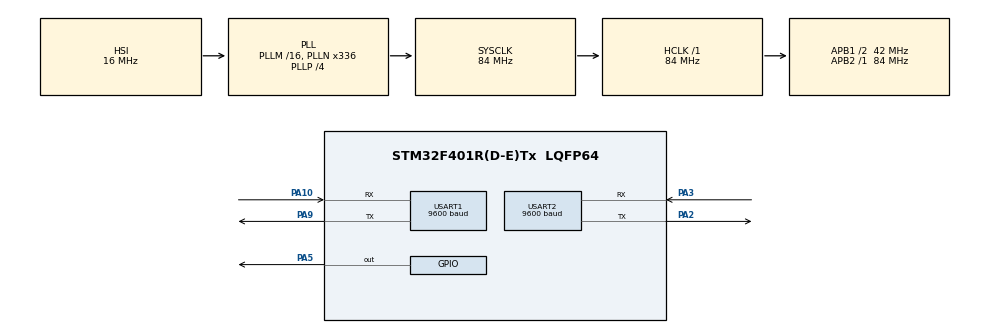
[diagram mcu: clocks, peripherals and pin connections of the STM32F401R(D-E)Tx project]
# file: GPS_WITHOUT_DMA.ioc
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Mcu.Family=STM32F4
Mcu.Name=STM32F401R(D-E)Tx
Mcu.Package=LQFP64
Mcu.UserConstants=RxFlag,int
NVIC.PriorityGroup=NVIC_PRIORITYGROUP_0
NVIC.USART1_IRQn=true\:0\:0\:false\:false\:true\:true\:true
NVIC.USART2_IRQn=true\:0\:0\:false\:false\:true\:true\:true
PA10.Mode=Asynchronous
PA10.Signal=USART1_RX
PA2.Mode=Asynchronous
PA2.Signal=USART2_TX
PA3.Mode=Asynchronous
PA3.Signal=USART2_RX
PA5.Signal=GPIO_Output
PA9.Mode=Asynchronous
PA9.Signal=USART1_TX
PC14-OSC32_IN.Mode=LSE-External-Oscillator
PC14-OSC32_IN.Signal=RCC_OSC32_IN
PC15-OSC32_OUT.Mode=LSE-External-Oscillator
PC15-OSC32_OUT.Signal=RCC_OSC32_OUT
PH0\ -\ OSC_IN.Mode=HSE-External-Oscillator
PH0\ -\ OSC_IN.Signal=RCC_OSC_IN
PH1\ -\ OSC_OUT.Mode=HSE-External-Oscillator
PH1\ -\ OSC_OUT.Signal=RCC_OSC_OUT
ProjectManager.HeapSize=0x200
ProjectManager.StackSize=0x400
ProjectManager.TargetToolchain=MDK-ARM V5.32
RCC.AHBFreq_Value=84000000
RCC.APB1CLKDivider=RCC_HCLK_DIV2
RCC.APB1Freq_Value=42000000
RCC.APB1TimFreq_Value=84000000
RCC.APB2Freq_Value=84000000
RCC.APB2TimFreq_Value=84000000
RCC.CortexFreq_Value=84000000
RCC.HCLKFreq_Value=84000000
RCC.HSE_VALUE=8000000
RCC.HSI_VALUE=16000000
RCC.PLLN=336
RCC.PLLP=RCC_PLLP_DIV4
RCC.PLLQ=7
RCC.SYSCLKFreq_VALUE=84000000
RCC.SYSCLKSource=RCC_SYSCLKSOURCE_PLLCLK
RCC.VCOOutputFreq_Value=336000000
USART1.BaudRate=9600
USART1.VirtualMode=VM_ASYNC
USART2.BaudRate=9600
USART2.VirtualMode=VM_ASYNC
board=NUCLEO-F401RE

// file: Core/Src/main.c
/* USER CODE BEGIN Header */
/**
  ******************************************************************************
  * @file           : main.c
  * @brief          : Main program body
  ******************************************************************************
  * @attention
  *
  * Copyright (c) 2022 STMicroelectronics.
  * All rights reserved.
  *
  * This software is licensed under terms that can be found in the LICENSE file
  * in the root directory of this software component.
  * If no LICENSE file comes with this software, it is provided AS-IS.
  *
  ******************************************************************************
  */
/* USER CODE END Header */
#include "main.h"

/* USER CODE BEGIN Includes */
#include <string.h>
#include <stdlib.h>
#include <stdio.h>

/* USER CODE END Includes */

UART_HandleTypeDef huart1;
UART_HandleTypeDef huart2;

void SystemClock_Config(void);
static void MX_GPIO_Init(void);
static void MX_USART1_UART_Init(void);
static void MX_USART2_UART_Init(void);
/* USER CODE BEGIN PFP */
char Rxdata[260];
int Flag=0;
char *success;
int index_txt,n;
char message[260];
char trial[260];
float North=0.0,East=0.0,Knots=0.0,Track_Angle=0.0;
int date=0,time=0;
char Checksum[5];
char c,N,E;
char hold[63];
/* USER CODE END PFP */

int main(void)
{

    /* MCU Configuration--------------------------------------------------------*/

    /* Reset of all peripherals, Initializes the Flash interface and the Systick. */
    HAL_Init();

    /* Configure the system clock */
    SystemClock_Config();

    /* Initialize all configured peripherals */
    MX_GPIO_Init();
    MX_USART1_UART_Init();
    MX_USART2_UART_Init();

    /* Infinite loop */
    while (1)
    {

        /* USER CODE BEGIN 3 */
        HAL_UART_Receive_IT(&huart1, (uint8_t*)Rxdata, 256);

        if(Flag==1)
        {
					sprintf(message,"%s",Rxdata);
				 success=strstr(message,"GPRMC");
				 HAL_UART_Transmit(&huart2,(uint8_t*)message,strlen(message),HAL_MAX_DELAY);
        }
        HAL_Delay(1000);

    }
    /* USER CODE END 3 */
}

void SystemClock_Config(void)
{
    RCC_OscInitTypeDef RCC_OscInitStruct = {0};
    RCC_ClkInitTypeDef RCC_ClkInitStruct = {0};

    /** Configure the main internal regulator output voltage
    */
    __HAL_RCC_PWR_CLK_ENABLE();
    __HAL_PWR_VOLTAGESCALING_CONFIG(PWR_REGULATOR_VOLTAGE_SCALE2);
    /** Initializes the RCC Oscillators according to the specified parameters
    * in the RCC_OscInitTypeDef structure.
    */
    RCC_OscInitStruct.OscillatorType = RCC_OSCILLATORTYPE_HSI;
    RCC_OscInitStruct.HSIState = RCC_HSI_ON;
    RCC_OscInitStruct.HSICalibrationValue = RCC_HSICALIBRATION_DEFAULT;
    RCC_OscInitStruct.PLL.PLLState = RCC_PLL_ON;
    RCC_OscInitStruct.PLL.PLLSource = RCC_PLLSOURCE_HSI;
    RCC_OscInitStruct.PLL.PLLM = 16;
    RCC_OscInitStruct.PLL.PLLN = 336;
    RCC_OscInitStruct.PLL.PLLP = RCC_PLLP_DIV4;
    RCC_OscInitStruct.PLL.PLLQ = 7;
    if (HAL_RCC_OscConfig(&RCC_OscInitStruct) != HAL_OK)
    {
        Error_Handler();
    }
    /** Initializes the CPU, AHB and APB buses clocks
    */
    RCC_ClkInitStruct.ClockType = RCC_CLOCKTYPE_HCLK|RCC_CLOCKTYPE_SYSCLK
                                  |RCC_CLOCKTYPE_PCLK1|RCC_CLOCKTYPE_PCLK2;
    RCC_ClkInitStruct.SYSCLKSource = RCC_SYSCLKSOURCE_PLLCLK;
    RCC_ClkInitStruct.AHBCLKDivider = RCC_SYSCLK_DIV1;
    RCC_ClkInitStruct.APB1CLKDivider = RCC_HCLK_DIV2;
    RCC_ClkInitStruct.APB2CLKDivider = RCC_HCLK_DIV1;

    if (HAL_RCC_ClockConfig(&RCC_ClkInitStruct, FLASH_LATENCY_2) != HAL_OK)
    {
        Error_Handler();
    }
}

static void MX_USART1_UART_Init(void)
{

    huart1.Instance = USART1;
    huart1.Init.BaudRate = 9600;
    huart1.Init.WordLength = UART_WORDLENGTH_8B;
    huart1.Init.StopBits = UART_STOPBITS_1;
    huart1.Init.Parity = UART_PARITY_NONE;
    huart1.Init.Mode = UART_MODE_TX_RX;
    huart1.Init.HwFlowCtl = UART_HWCONTROL_NONE;
    huart1.Init.OverSampling = UART_OVERSAMPLING_16;
    if (HAL_UART_Init(&huart1) != HAL_OK)
    {
        Error_Handler();
    }

}

static void MX_USART2_UART_Init(void)
{

    huart2.Instance = USART2;
    huart2.Init.BaudRate = 9600;
    huart2.Init.WordLength = UART_WORDLENGTH_8B;
    huart2.Init.StopBits = UART_STOPBITS_1;
    huart2.Init.Parity = UART_PARITY_NONE;
    huart2.Init.Mode = UART_MODE_TX_RX;
    huart2.Init.HwFlowCtl = UART_HWCONTROL_NONE;
    huart2.Init.OverSampling = UART_OVERSAMPLING_16;
    if (HAL_UART_Init(&huart2) != HAL_OK)
    {
        Error_Handler();
    }

}

static void MX_GPIO_Init(void)
{
    GPIO_InitTypeDef GPIO_InitStruct = {0};

    /* GPIO Ports Clock Enable */
    __HAL_RCC_GPIOC_CLK_ENABLE();
    __HAL_RCC_GPIOH_CLK_ENABLE();
    __HAL_RCC_GPIOA_CLK_ENABLE();

    /*Configure GPIO pin Output Level */
    HAL_GPIO_WritePin(GPIOA, GPIO_PIN_5, GPIO_PIN_RESET);

    /*Configure GPIO pin : PA5 */
    GPIO_InitStruct.Pin = GPIO_PIN_5;
    GPIO_InitStruct.Mode = GPIO_MODE_OUTPUT_PP;
    GPIO_InitStruct.Pull = GPIO_NOPULL;
    GPIO_InitStruct.Speed = GPIO_SPEED_FREQ_LOW;
    HAL_GPIO_Init(GPIOA, &GPIO_InitStruct);

}

/* USER CODE BEGIN 4 */
void HAL_UART_TxCpltCallback(UART_HandleTypeDef *huart)
{
    Flag=1;
}

/* USER CODE END 4 */

void Error_Handler(void)
{
    __disable_irq();
    while (1)
    {
    }
}
